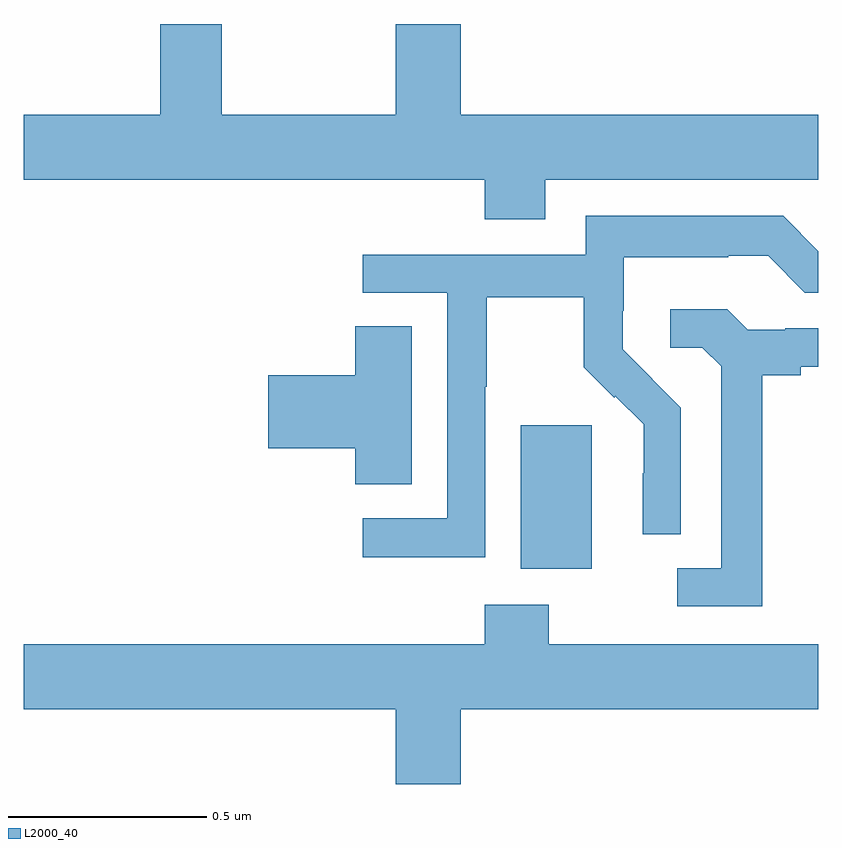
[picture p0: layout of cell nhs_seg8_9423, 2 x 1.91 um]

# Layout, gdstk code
import gdstk
lib = gdstk.Library(unit=1e-6, precision=1e-09)
def R(c, l, rs):  # rectangles x0, y0, x1, y1
    for r in rs: c.add(gdstk.rectangle(r[:2], r[2:], *l))
def P(c, l, *ps):  # polygons
    for p in ps: c.add(gdstk.Polygon(p, *l))
L2000_40 = (2000, 40)

nhs_seg8_9423 = lib.new_cell('nhs_seg8_9423')
R(nhs_seg8_9423, L2000_40, [(237.251,1107.53,237.43,1107.891)])
P(nhs_seg8_9423, L2000_40, [(237.313,1108.508),(238,1108.508),(238,1108.672),(237.1,1108.672),(237.1,1108.9),(236.936,1108.9),(236.936,1108.672),(236.499,1108.672),(236.499,1108.9),(236.344,1108.9),(236.344,1108.672),(236,1108.672),(236,1108.508),(237.161,1108.508),(237.161,1108.409),(237.313,1108.409)],
  [(237.162,1107.988),(237.165,1107.988),(237.165,1108.212),(237.409,1108.212),(237.409,1108.037),(237.486,1107.96),(237.489,1107.963),(237.56,1107.893),(237.56,1107.77),(237.558,1107.77),(237.558,1107.616),(237.654,1107.616),(237.654,1107.934),(237.581,1108.007),(237.582,1108.008),(237.508,1108.082),(237.508,1108.179),(237.51,1108.179),(237.51,1108.313),(237.773,1108.313),(237.773,1108.317),(237.873,1108.317),(237.966,1108.224),(238,1108.224),(238,1108.328),(237.911,1108.417),(237.414,1108.417),(237.414,1108.32),(236.853,1108.32),(236.853,1108.224),(237.066,1108.224),(237.066,1107.657),(236.853,1107.657),(236.853,1107.559),(237.162,1107.559)],
  [(237.859,1108.016),(237.955,1108.016),(237.955,1108.038),(238,1108.038),(238,1108.134),(237.916,1108.134),(237.916,1108.131),(237.822,1108.131),(237.77,1108.183),(237.627,1108.183),(237.627,1108.086),(237.708,1108.086),(237.755,1108.039),(237.755,1107.531),(237.645,1107.531),(237.645,1107.435),(237.859,1107.435)],
  [(236.977,1108.139),(236.834,1108.139),(236.834,1108.016),(236.616,1108.016),(236.616,1107.833),(236.834,1107.833),(236.834,1107.742),(236.977,1107.742)],
  [(237.1,1107.176),(238,1107.176),(238,1107.34),(237.321,1107.34),(237.321,1107.439),(237.161,1107.439),(237.161,1107.34),(236,1107.34),(236,1107.176),(236.936,1107.176),(236.936,1106.988),(237.1,1106.988)])

lib.write_gds('nhs_seg8_9423.gds')
